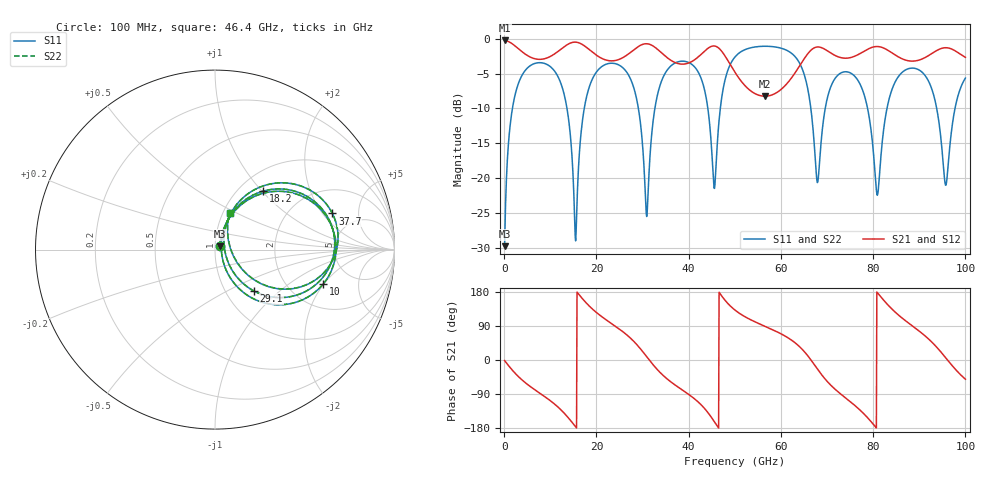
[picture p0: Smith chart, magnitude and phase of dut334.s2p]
! Touchstone file exported from HFSS 2026.1.0
!  File:  C:/ffzhzh/LocalFiles/Ansys_Project_Files/temp_train_TSV_RDL_334_1783704818_45164.aedt
!  Generated:  01:42:48 AM Jul 11, 2026
!  Design:  TSV_RDL
!  Project:  temp_train_TSV_RDL_334_1783704818_45164
! Variables:
!  h_bsmrdl = 3.39um
!  h_ox = 20um
!  h_rdl = 5um
!  h_sub = 64.82um
!  h_tmrdl = 4.19um
!  h_tsv = 64.82um
!  h_via = 3um
!  l_bsmrdl = 267.14um
!  l_sub = 3942.61um
!  l_tmrdl = 663.84um
!  m_sub = 200um
!  pitch = 52.77um
!  r_tsv = 6.05um
!  s_tmrdl = 10um
!  w_bsmrdl = 17.19um
!  w_sub = 500um
!  w_tmrdl = 11.42um
!  x_tsv_center1 = 669.55um
!  x_tsv_center2 = 953.88um
!  x_tsv_center3 = 1629.14um
!  x_tsv_center4 = 1913.47um
!  x_tsv_center5 = 2588.73um
!  x_tsv_center6 = 2873.06um
# GHz S MA R 50.000000
! Terminal data exported
! Port[1] = TM_RDL1_1_T1
! Port[2] = TM_RDL5_1_T1
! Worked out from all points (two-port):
!   1000 points, 100 MHz to 100 GHz, reference 50 ohm
!   highest |S21| = -0.23 dB at 100 MHz (marker M1); lowest = -8.2 dB at 56.5 GHz (marker M2)
!   |S21| within 3 dB of the highest: start of sweep to 36.53 GHz; 64.68 GHz to end of sweep (the widest 2 of 3)
!   lowest |S11| = -29.8 dB at 100 MHz (marker M3), VSWR 1.07, Z = 52.7 + j2 ohm
!   |S11| at or under -10 dB: 13.63 GHz to 17.37 GHz (3.739 GHz wide, 24.1 % of centre); 78.8 GHz to 83 GHz (4.198 GHz wide, 5.19 % of centre); 93.78 GHz to 97.74 GHz (3.961 GHz wide, 4.14 % of centre) (the widest 3 of 7)
!   |S22| runs from -29.8 to -1.1 dB; largest |S21 - S12| = 1.6e-11
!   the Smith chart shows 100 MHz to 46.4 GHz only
!   S11 on the Smith chart (normalised r, x): 100 MHz: 1.05, +0.04; 10 GHz: 3.08, -1.97; 18.2 GHz: 1.28, +1.02; 29.1 GHz: 1.35, -0.69; 37.7 GHz: 3.32, +2.51; 46.4 GHz: 1.08, +0.46
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0.1  0.03247 35.8  0.974 -1.6  0.974 -1.6  0.03247 35.8
! Gamma 0 0 0 0
! Port Impedance 50 0 50 0
2.8  0.4475 46.1  0.8656 -40.3  0.8656 -40.3  0.4475 46.1
10  0.6324 -17.7  0.7472 -107.3  0.7472 -107.3  0.6324 -17.7
15.4  0.03859 -19.8  0.9475 -174.7  0.9475 -174.7  0.03853 -19.9
16.8  0.2313 64.6  0.9173 164.3  0.9173 164.3  0.2313 64.6
18.2  0.4233 50.4  0.8505 145.5  0.8505 145.5  0.4232 50.4
23.8  0.6667 1.2  0.6968 91.8  0.6968 91.8  0.6667 1.3
29.1  0.3173 -46.7  0.8811 36.0  0.8811 36.0  0.3172 -46.6
30.9  0.05304 7.3  0.9224 8.9  0.9224 8.9  0.05328 7.5
33.4  0.4165 55.3  0.8331 -27.8  0.8331 -27.8  0.4166 55.3
37.7  0.6842 17.1  0.6648 -71.4  0.6648 -71.4  0.6843 17.2
46.4  0.2171 68.1  0.865 -177.8  0.865 -177.8  0.2175 67.8
50.1  0.7448 36.3  0.5714 131.2  0.5714 131.2  0.7448 36.3
56.5  0.8851 -1.4  0.3874 89.2  0.3874 89.2  0.8851 -1.3
66.7  0.2768 -72.9  0.8392 -2.9  0.8392 -2.9  0.2774 -72.5
68  0.09388 -14.3  0.8749 -25.2  0.8749 -25.2  0.09541 -14.4
75.1  0.5688 -19.6  0.7337 -110.6  0.7337 -110.6  0.5689 -19.5
80.9  0.07529 -3.9  0.8812 177.8  0.8812 177.8  0.07784 -3.8
83.4  0.3633 42.4  0.8201 142.8  0.8201 142.8  0.3637 42.1
92.2  0.482 -31.8  0.7654 53.4  0.7654 53.4  0.4821 -31.7
95.7  0.08892 -1.5  0.8639 6.3  0.8639 6.3  0.09013 -1.3
100  0.523 32.9  0.7371 -50.7  0.7371 -50.7  0.5231 32.8
